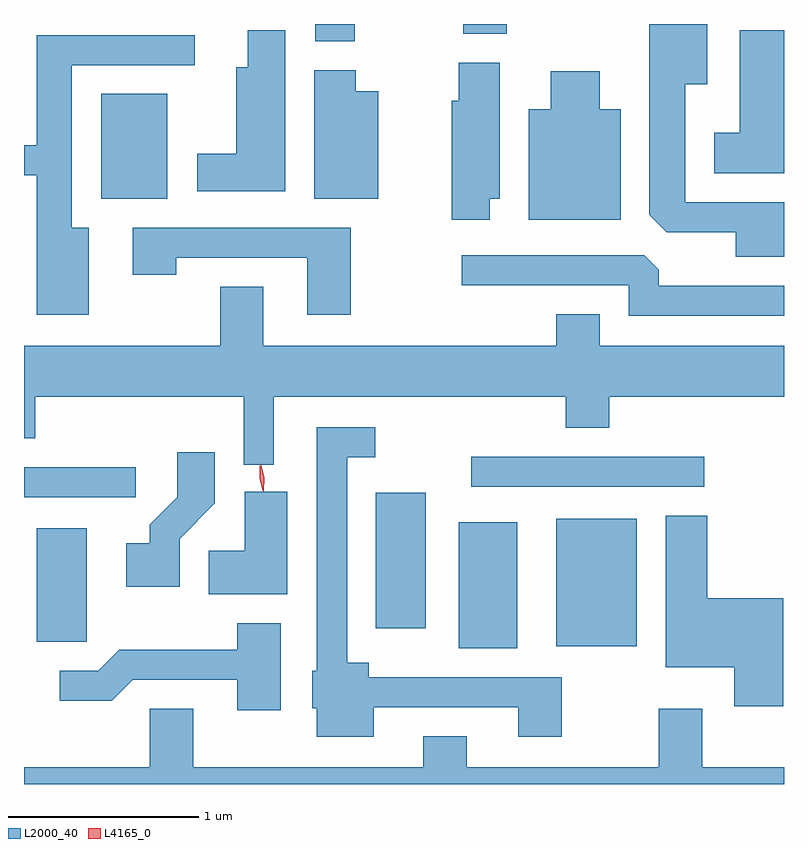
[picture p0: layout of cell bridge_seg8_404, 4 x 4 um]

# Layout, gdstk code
import gdstk
lib = gdstk.Library(unit=1e-6, precision=1e-09)
def R(c, l, rs):  # rectangles x0, y0, x1, y1
    for r in rs: c.add(gdstk.rectangle(r[:2], r[2:], *l))
def P(c, l, *ps):  # polygons
    for p in ps: c.add(gdstk.Polygon(p, *l))
L2000_40 = (2000, 40)
L4165_0 = (4165, 0)

bridge_seg8_404 = lib.new_cell('bridge_seg8_404')
R(bridge_seg8_404, L2000_40, [(697.406,1821.771,697.714,1822.434), (697.921,1821.781,698.344,1822.454), (695.186,1821.806,695.449,1822.404), (696.971,1821.876,697.234,1822.589), (695.119,1822.566,695.708,1822.724), (697.473,1822.621,698.698,1822.779), (695.526,1824.136,695.874,1824.689), (696.651,1824.966,696.859,1825.057), (697.431,1825.006,697.659,1825.057)])
P(bridge_seg8_404, L2000_40, [(699.119,1824.119),(698.599,1824.119),(698.599,1824.741),(698.714,1824.741),(698.714,1825.057),(698.411,1825.057),(698.411,1824.052),(698.502,1823.961),(698.866,1823.961),(698.866,1823.831),(699.119,1823.831)],
  [(696.494,1825.024),(696.296,1825.024),(696.296,1824.829),(696.236,1824.829),(696.236,1824.374),(696.031,1824.374),(696.031,1824.176),(696.494,1824.176)],
  [(699.119,1825.024),(698.886,1825.024),(698.886,1824.484),(698.751,1824.484),(698.751,1824.271),(699.119,1824.271)],
  [(695.459,1823.984),(695.369,1823.984),(695.369,1824.841),(696.018,1824.841),(696.018,1824.999),(695.186,1824.999),(695.186,1824.419),(695.119,1824.419),(695.119,1824.261),(695.186,1824.261),(695.186,1823.526),(695.459,1823.526)],
  [(697.569,1824.136),(697.624,1824.136),(697.624,1824.854),(697.406,1824.854),(697.406,1824.654),(697.371,1824.654),(697.371,1824.026),(697.569,1824.026)],
  [(696.984,1824.704),(696.864,1824.704),(696.864,1824.814),(696.646,1824.814),(696.646,1824.136),(696.984,1824.136)],
  [(698.259,1824.609),(698.149,1824.609),(698.149,1824.809),(697.891,1824.809),(697.891,1824.609),(697.776,1824.609),(697.776,1824.026),(698.259,1824.026)],
  [(696.839,1823.984),(695.691,1823.984),(695.691,1823.736),(695.919,1823.736),(695.919,1823.826),(696.611,1823.826),(696.611,1823.526),(696.839,1823.526)],
  [(699.119,1823.679),(698.459,1823.679),(698.459,1823.764),(698.384,1823.839),(697.423,1823.839),(697.423,1823.681),(698.301,1823.681),(698.301,1823.521),(699.119,1823.521)],
  [(696.434,1823.096),(697.971,1823.096),(697.971,1822.931),(698.199,1822.931),(698.199,1823.096),(699.119,1823.096),(699.119,1823.364),(698.149,1823.364),(698.149,1823.529),(697.921,1823.529),(697.921,1823.364),(696.379,1823.364),(696.379,1823.674),(696.151,1823.674),(696.151,1823.364),(695.119,1823.364),(695.119,1822.876),(695.179,1822.876),(695.179,1823.096),(696.276,1823.096),(696.276,1822.738),(696.434,1822.738)],
  [(696.959,1821.461),(697.721,1821.461),(697.721,1821.306),(697.949,1821.306),(697.949,1821.619),(696.934,1821.619),(696.934,1821.694),(696.819,1821.694),(696.819,1822.776),(696.968,1822.776),(696.968,1822.934),(696.661,1822.934),(696.661,1821.654),(696.636,1821.654),(696.636,1821.456),(696.661,1821.456),(696.661,1821.306),(696.959,1821.306)],
  [(695.939,1822.349),(696.124,1822.534),(696.124,1822.804),(695.926,1822.804),(695.926,1822.567),(695.781,1822.422),(695.781,1822.324),(695.656,1822.324),(695.656,1822.096),(695.939,1822.096)],
  [(696.504,1822.594),(696.281,1822.594),(696.281,1822.284),(696.091,1822.284),(696.091,1822.056),(696.504,1822.056)],
  [(699.114,1822.034),(698.714,1822.034),(698.714,1822.469),(698.496,1822.469),(698.496,1821.671),(698.856,1821.671),(698.856,1821.466),(699.114,1821.466)],
  [(696.469,1821.904),(696.241,1821.904),(696.241,1821.764),(695.619,1821.764),(695.509,1821.654),(695.308,1821.654),(695.308,1821.496),(695.582,1821.496),(695.692,1821.606),(696.241,1821.606),(696.241,1821.446),(696.469,1821.446)],
  [(699.119,1821.144),(698.689,1821.144),(698.689,1821.454),(698.461,1821.454),(698.461,1821.144),(697.449,1821.144),(697.449,1821.309),(697.221,1821.309),(697.221,1821.144),(696.009,1821.144),(696.009,1821.454),(695.781,1821.454),(695.781,1821.144),(695.119,1821.144),(695.119,1821.057),(699.119,1821.057)])
P(bridge_seg8_404, L4165_0, [(696.382,1822.597),(696.381,1822.598),(696.364,1822.665),(696.366,1822.735),(696.366,1822.736),(696.367,1822.735),(696.384,1822.668),(696.382,1822.598)],
  [(696.376,1822.6),(696.376,1822.6),(696.359,1822.664),(696.36,1822.731),(696.361,1822.732),(696.361,1822.731),(696.379,1822.667),(696.377,1822.6)])

lib.write_gds('bridge_seg8_404.gds')
